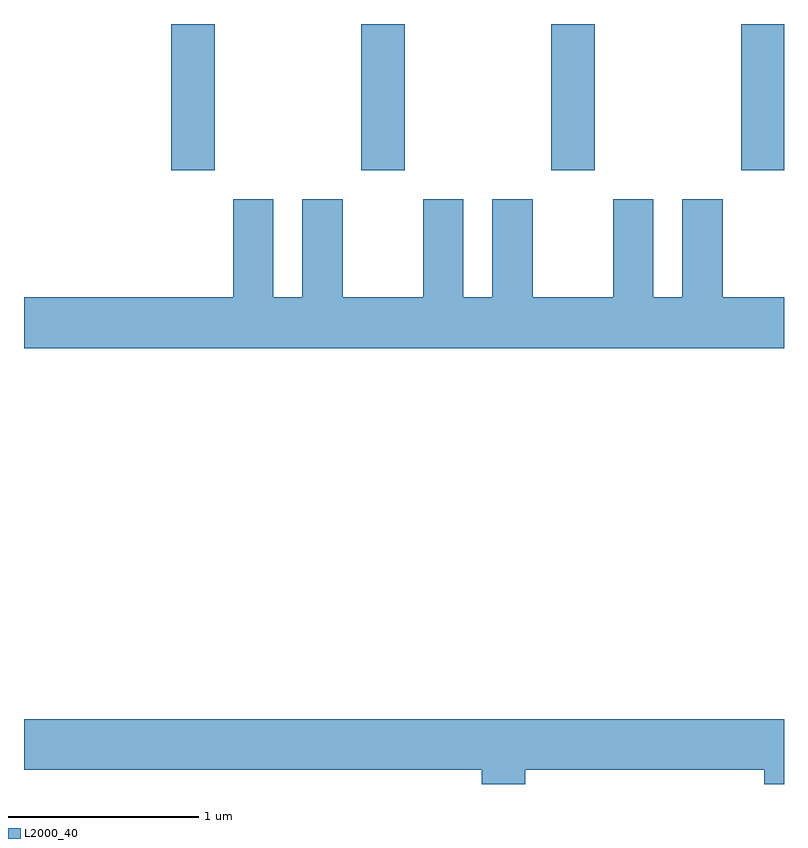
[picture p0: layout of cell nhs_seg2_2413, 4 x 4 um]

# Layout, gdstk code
import gdstk
lib = gdstk.Library(unit=1e-6, precision=1e-09)
def R(c, l, rs):  # rectangles x0, y0, x1, y1
    for r in rs: c.add(gdstk.rectangle(r[:2], r[2:], *l))
def A(c, l, x, y, w, h, nx, ny, dx, dy):  # array of equal rectangles
    R(c, l, [(x+i*dx, y+j*dy, x+i*dx+w, y+j*dy+h) for i in range(nx) for j in range(ny)])
def P(c, l, *ps):  # polygons
    for p in ps: c.add(gdstk.Polygon(p, *l))
L2000_40 = (2000, 40)

nhs_seg2_2413 = lib.new_cell('nhs_seg2_2413')
A(nhs_seg2_2413, L2000_40, 256.386, 1047.031, 0.228, 0.771, 3, 1, 1, 0)
R(nhs_seg2_2413, L2000_40, [(259.386,1047.031,259.611,1047.802)])
P(nhs_seg2_2413, L2000_40, [(259.611,1046.364),(259.289,1046.364),(259.289,1046.879),(259.076,1046.879),(259.076,1046.364),(258.924,1046.364),(258.924,1046.879),(258.711,1046.879),(258.711,1046.364),(258.289,1046.364),(258.289,1046.879),(258.076,1046.879),(258.076,1046.364),(257.924,1046.364),(257.924,1046.879),(257.711,1046.879),(257.711,1046.364),(257.289,1046.364),(257.289,1046.879),(257.076,1046.879),(257.076,1046.364),(256.924,1046.364),(256.924,1046.879),(256.711,1046.879),(256.711,1046.364),(255.611,1046.364),(255.611,1046.096),(259.611,1046.096)],
  [(258.249,1043.876),(259.506,1043.876),(259.506,1043.802),(259.611,1043.802),(259.611,1044.144),(255.611,1044.144),(255.611,1043.876),(258.021,1043.876),(258.021,1043.802),(258.249,1043.802)])

lib.write_gds('nhs_seg2_2413.gds')
